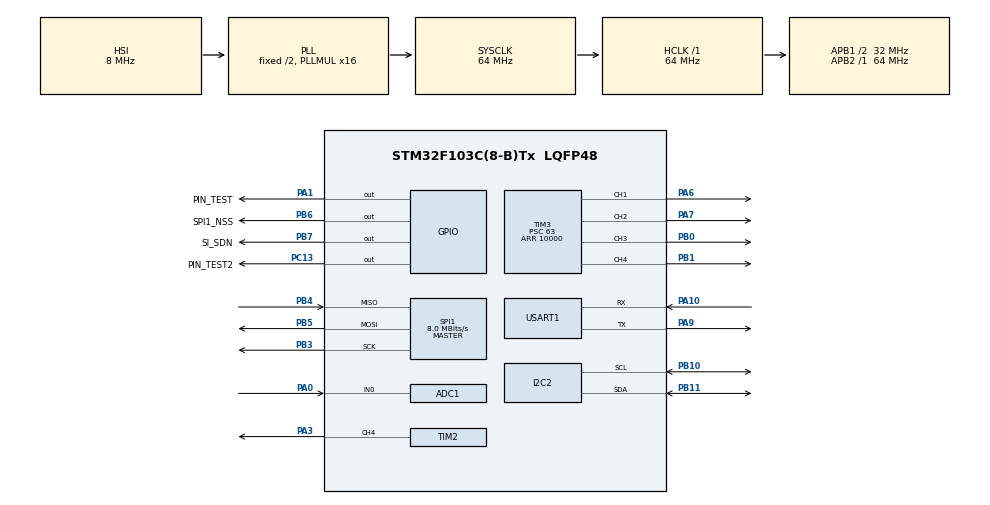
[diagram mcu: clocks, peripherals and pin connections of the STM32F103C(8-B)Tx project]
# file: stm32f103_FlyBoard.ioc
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ADC1.Channel-1\#ChannelRegularConversion=ADC_CHANNEL_0
ADC1.NbrOfConversionFlag=1
ADC1.Rank-1\#ChannelRegularConversion=1
ADC1.SamplingTime-1\#ChannelRegularConversion=ADC_SAMPLETIME_1CYCLE_5
ADC1.master=1
FREERTOS.HEAP_NUMBER=1
FREERTOS.Tasks01=defaultTask,24,512,StartDefaultTask,Default,NULL,Dynamic,NULL,NULL;myTask02,24,512,StartTask02,Default,NULL,Dynamic,NULL,NULL
FREERTOS.configMAX_TASK_NAME_LEN=12
FREERTOS.configMINIMAL_STACK_SIZE=512
FREERTOS.configTOTAL_HEAP_SIZE=5120
FREERTOS.configUSE_PREEMPTION=0
I2C2.I2C_Mode=I2C_Fast
IWDG.Prescaler=IWDG_PRESCALER_64
IWDG.Reload=1250
Mcu.Family=STM32F1
Mcu.Name=STM32F103C(8-B)Tx
Mcu.Package=LQFP48
NVIC.PriorityGroup=NVIC_PRIORITYGROUP_4
NVIC.TIM3_IRQn=true\:5\:0\:false\:false\:true\:true\:true\:true\:true
PA0-WKUP.Signal=ADCx_IN0
PA1.GPIO_Label=PIN_TEST
PA1.Signal=GPIO_Output
PA10.Mode=Asynchronous
PA10.Signal=USART1_RX
PA13.Mode=Serial_Wire
PA13.Signal=SYS_JTMS-SWDIO
PA14.Mode=Serial_Wire
PA14.Signal=SYS_JTCK-SWCLK
PA3.Signal=S_TIM2_CH4
PA6.Signal=S_TIM3_CH1
PA7.Signal=S_TIM3_CH2
PA9.Mode=Asynchronous
PA9.Signal=USART1_TX
PB0.Signal=S_TIM3_CH3
PB1.Signal=S_TIM3_CH4
PB10.Mode=I2C
PB10.Signal=I2C2_SCL
PB11.Mode=I2C
PB11.Signal=I2C2_SDA
PB3.Mode=Full_Duplex_Master
PB3.Signal=SPI1_SCK
PB4.Mode=Full_Duplex_Master
PB4.Signal=SPI1_MISO
PB5.Mode=Full_Duplex_Master
PB5.Signal=SPI1_MOSI
PB6.GPIO_Label=SPI1_NSS
PB6.Signal=GPIO_Output
PB7.GPIO_Label=SI_SDN
PB7.Signal=GPIO_Output
PC13-TAMPER-RTC.GPIO_Label=PIN_TEST2
PC13-TAMPER-RTC.Signal=GPIO_Output
ProjectManager.HeapSize=0x200
ProjectManager.StackSize=0x400
ProjectManager.TargetToolchain=Makefile
RCC.ADCPresc=RCC_ADCPCLK2_DIV6
RCC.AHBFreq_Value=64000000
RCC.APB1CLKDivider=RCC_HCLK_DIV2
RCC.APB1Freq_Value=32000000
RCC.APB1TimFreq_Value=64000000
RCC.APB2Freq_Value=64000000
RCC.APB2TimFreq_Value=64000000
RCC.HCLKFreq_Value=64000000
RCC.PLLMUL=RCC_PLL_MUL16
RCC.SYSCLKFreq_VALUE=64000000
RCC.SYSCLKSource=RCC_SYSCLKSOURCE_PLLCLK
RCC.USBFreq_Value=64000000
SH.ADCx_IN0.0=ADC1_IN0,IN0
SH.S_TIM2_CH4.0=TIM2_CH4,PWM Generation4 CH4
SH.S_TIM3_CH1.0=TIM3_CH1,PWM Generation1 CH1
SH.S_TIM3_CH2.0=TIM3_CH2,PWM Generation2 CH2
SH.S_TIM3_CH3.0=TIM3_CH3,PWM Generation3 CH3
SH.S_TIM3_CH4.0=TIM3_CH4,PWM Generation4 CH4
SPI1.BaudRatePrescaler=SPI_BAUDRATEPRESCALER_8
SPI1.CalculateBaudRate=8.0 MBits/s
SPI1.Direction=SPI_DIRECTION_2LINES
SPI1.Mode=SPI_MODE_MASTER
SPI1.VirtualType=VM_MASTER
TIM1.AutoReloadPreload=TIM_AUTORELOAD_PRELOAD_ENABLE
TIM1.Period=0xffff
TIM1.Prescaler=63
TIM2.AutoReloadPreload=TIM_AUTORELOAD_PRELOAD_ENABLE
TIM2.Channel-PWM\ Generation4\ CH4=TIM_CHANNEL_4
TIM2.Period=20000
TIM2.Prescaler=63
TIM2.Pulse-PWM\ Generation4\ CH4=10000
TIM3.AutoReloadPreload=TIM_AUTORELOAD_PRELOAD_ENABLE
TIM3.Channel-PWM\ Generation1\ CH1=TIM_CHANNEL_1
TIM3.Channel-PWM\ Generation2\ CH2=TIM_CHANNEL_2
TIM3.Channel-PWM\ Generation3\ CH3=TIM_CHANNEL_3
TIM3.Channel-PWM\ Generation4\ CH4=TIM_CHANNEL_4
TIM3.Period=10000
TIM3.Prescaler=63
USART1.VirtualMode=VM_ASYNC
VP_FREERTOS_VS_CMSIS_V2.Mode=CMSIS_V2
VP_IWDG_VS_IWDG.Mode=IWDG_Activate
VP_TIM1_VS_ClockSourceINT.Mode=Internal
VP_TIM2_VS_ClockSourceINT.Mode=Internal
VP_TIM3_VS_ClockSourceINT.Mode=Internal
board=custom

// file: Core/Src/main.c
/* USER CODE BEGIN Header */
/**
  ******************************************************************************
  * @file           : main.c
  * @brief          : Main program body
  ******************************************************************************
  * @attention
  *
  * Copyright (c) 2024 STMicroelectronics.
  * All rights reserved.
  *
  * This software is licensed under terms that can be found in the LICENSE file
  * in the root directory of this software component.
  * If no LICENSE file comes with this software, it is provided AS-IS.
  *
  ******************************************************************************
  */
/* USER CODE END Header */
#include "main.h"
#include "cmsis_os.h"

/* USER CODE BEGIN Includes */

#include <string.h>		// for strlen
#include <stdio.h>		// for sprintf
#include <math.h>		  // for abs and other

#include "radio_config_Si4463.h"

// #include "debug.h"

#include "params.h"
#include "system.h"
#include "mavlink_handler.h"

#include "imu.h"

#include "ModemControl.h"
#include "MotorControl.h"

#include "task.h"
/* USER CODE END Includes */

ADC_HandleTypeDef hadc1;

I2C_HandleTypeDef hi2c2;

IWDG_HandleTypeDef hiwdg;

SPI_HandleTypeDef hspi1;

TIM_HandleTypeDef htim1;
TIM_HandleTypeDef htim2;
TIM_HandleTypeDef htim3;

UART_HandleTypeDef huart1;

/* Definitions for defaultTask */
osThreadId_t defaultTaskHandle;
const osThreadAttr_t defaultTask_attributes = {
  .name = "defaultTask",
  .stack_size = 512 * 4,
  .priority = (osPriority_t) osPriorityNormal,
};
/* Definitions for myTask02 */
osThreadId_t myTask02Handle;
const osThreadAttr_t myTask02_attributes = {
  .name = "myTask02",
  .stack_size = 512 * 4,
  .priority = (osPriority_t) osPriorityNormal,
};

void SystemClock_Config(void);
static void MX_GPIO_Init(void);
static void MX_ADC1_Init(void);
static void MX_I2C2_Init(void);
static void MX_IWDG_Init(void);
static void MX_SPI1_Init(void);
static void MX_TIM1_Init(void);
static void MX_TIM2_Init(void);
static void MX_TIM3_Init(void);
static void MX_USART1_UART_Init(void);
void StartDefaultTask(void *argument);
void StartTask02(void *argument);

/* USER CODE BEGIN 0 */

void test_set(int set){
  if (set !=0) HAL_GPIO_WritePin(PIN_TEST_GPIO_Port, PIN_TEST_Pin, GPIO_PIN_SET);
  else HAL_GPIO_WritePin(PIN_TEST_GPIO_Port, PIN_TEST_Pin, GPIO_PIN_RESET);

}

volatile uint32_t tick_ms = 0;

uint32_t Get_tick(void){
  return tick_ms;
}

void HAL_IncTick(void)
{
  uwTick += uwTickFreq;
  SYS_myTick();
}

void SYS_myTick(void)  // IRQ 1 ms
{
  tick_ms++;
  //reset timer for calculate us
  if (htim1.Instance != 0)__HAL_TIM_SET_COUNTER(&htim1, 0); // reset for timer counter us
}

// void Printf(const char *fmt, ...){
//  HAL_UART_Transmit(&huart1, (unsigned char *)fmt, strlen(fmt), 500);
// }
#include <stdarg.h>
void Printf(const char *fmt, ...)
{
  char buf[256];
  va_list lst;
  va_start(lst, fmt);
  vsprintf(buf, fmt, lst);
  va_end(lst);
  HAL_UART_Transmit(&huart1, (unsigned char *)buf, strlen(buf), 500);
  // if (ModemControl_getStatus()>=0) mavlink_send_statustext(buf);
}

// for printf. the size is larger on 2k
// int _write(int fd, char* ptr, int len) {
//     HAL_UART_Transmit(&huart1, (uint8_t *) ptr, len, HAL_MAX_DELAY);
//   ptr[len] = '\0';
//   if (ModemControl_getStatus()>=0) mavlink_send_statustext(ptr);
//     return len;
// }

/* USER CODE END 0 */

int main(void)
{

  /* MCU Configuration--------------------------------------------------------*/

  /* Reset of all peripherals, Initializes the Flash interface and the Systick. */
  HAL_Init();

  /* Configure the system clock */
  SystemClock_Config();

  /* Initialize all configured peripherals */
  MX_GPIO_Init();
  MX_ADC1_Init();
  MX_I2C2_Init();
  MX_IWDG_Init();
  MX_SPI1_Init();
  MX_TIM1_Init();
  MX_TIM2_Init();
  MX_TIM3_Init();
  MX_USART1_UART_Init();
  /* USER CODE BEGIN 2 */

  Printf("...\n\r");

  __enable_irq();
  HAL_IWDG_Init(&hiwdg);
  __HAL_IWDG_START(&hiwdg);
  HAL_IWDG_Refresh(&hiwdg);

  HAL_TIM_Base_Start(&htim1); // timer for us calculate
  HAL_TIM_Base_Start(&htim2); // reserv for additional motors
  HAL_TIM_Base_Start(&htim3); // timer for motor pwm

  HAL_TIM_PWM_Start(&htim2, TIM_CHANNEL_2); // for additional motors
  HAL_TIM_PWM_Start(&htim2, TIM_CHANNEL_4); // for additional motors

  HAL_TIM_PWM_Start(&htim3, TIM_CHANNEL_1); // motor 1
  HAL_TIM_PWM_Start(&htim3, TIM_CHANNEL_2); // motor 2
  HAL_TIM_PWM_Start(&htim3, TIM_CHANNEL_3); // motor 3
  HAL_TIM_PWM_Start(&htim3, TIM_CHANNEL_4); // motor 4

  params_restore();

  HAL_IWDG_Refresh(&hiwdg);

  MotorControl_init();

  if (imu_init() < 0) system_reboot();
  if (ModemControl_init() < 0) {Printf("MC_init false\n\r"); system_reboot();};

  Printf("Started...\n\r");

  /* USER CODE END 2 */

  /* Init scheduler */
  osKernelInitialize();

  /* Create the thread(s) */
  /* creation of defaultTask */
  defaultTaskHandle = osThreadNew(StartDefaultTask, NULL, &defaultTask_attributes);

  /* creation of myTask02 */
  myTask02Handle = osThreadNew(StartTask02, NULL, &myTask02_attributes);

  /* Start scheduler */
  osKernelStart();

  /* We should never get here as control is now taken by the scheduler */

  /* Infinite loop */
  while (1)
  {

  }
}

void SystemClock_Config(void)
{
  RCC_OscInitTypeDef RCC_OscInitStruct = {0};
  RCC_ClkInitTypeDef RCC_ClkInitStruct = {0};
  RCC_PeriphCLKInitTypeDef PeriphClkInit = {0};

  /** Initializes the RCC Oscillators according to the specified parameters
  * in the RCC_OscInitTypeDef structure.
  */
  RCC_OscInitStruct.OscillatorType = RCC_OSCILLATORTYPE_HSI|RCC_OSCILLATORTYPE_LSI;
  RCC_OscInitStruct.HSIState = RCC_HSI_ON;
  RCC_OscInitStruct.HSICalibrationValue = RCC_HSICALIBRATION_DEFAULT;
  RCC_OscInitStruct.LSIState = RCC_LSI_ON;
  RCC_OscInitStruct.PLL.PLLState = RCC_PLL_ON;
  RCC_OscInitStruct.PLL.PLLSource = RCC_PLLSOURCE_HSI_DIV2;
  RCC_OscInitStruct.PLL.PLLMUL = RCC_PLL_MUL16;
  if (HAL_RCC_OscConfig(&RCC_OscInitStruct) != HAL_OK)
  {
    Error_Handler();
  }

  /** Initializes the CPU, AHB and APB buses clocks
  */
  RCC_ClkInitStruct.ClockType = RCC_CLOCKTYPE_HCLK|RCC_CLOCKTYPE_SYSCLK
                              |RCC_CLOCKTYPE_PCLK1|RCC_CLOCKTYPE_PCLK2;
  RCC_ClkInitStruct.SYSCLKSource = RCC_SYSCLKSOURCE_PLLCLK;
  RCC_ClkInitStruct.AHBCLKDivider = RCC_SYSCLK_DIV1;
  RCC_ClkInitStruct.APB1CLKDivider = RCC_HCLK_DIV2;
  RCC_ClkInitStruct.APB2CLKDivider = RCC_HCLK_DIV1;

  if (HAL_RCC_ClockConfig(&RCC_ClkInitStruct, FLASH_LATENCY_2) != HAL_OK)
  {
    Error_Handler();
  }
  PeriphClkInit.PeriphClockSelection = RCC_PERIPHCLK_ADC;
  PeriphClkInit.AdcClockSelection = RCC_ADCPCLK2_DIV6;
  if (HAL_RCCEx_PeriphCLKConfig(&PeriphClkInit) != HAL_OK)
  {
    Error_Handler();
  }
}

static void MX_ADC1_Init(void)
{

  ADC_ChannelConfTypeDef sConfig = {0};

  /** Common config
  */
  hadc1.Instance = ADC1;
  hadc1.Init.ScanConvMode = ADC_SCAN_DISABLE;
  hadc1.Init.ContinuousConvMode = DISABLE;
  hadc1.Init.DiscontinuousConvMode = DISABLE;
  hadc1.Init.ExternalTrigConv = ADC_SOFTWARE_START;
  hadc1.Init.DataAlign = ADC_DATAALIGN_RIGHT;
  hadc1.Init.NbrOfConversion = 1;
  if (HAL_ADC_Init(&hadc1) != HAL_OK)
  {
    Error_Handler();
  }

  /** Configure Regular Channel
  */
  sConfig.Channel = ADC_CHANNEL_0;
  sConfig.Rank = ADC_REGULAR_RANK_1;
  sConfig.SamplingTime = ADC_SAMPLETIME_1CYCLE_5;
  if (HAL_ADC_ConfigChannel(&hadc1, &sConfig) != HAL_OK)
  {
    Error_Handler();
  }

}

static void MX_I2C2_Init(void)
{

  hi2c2.Instance = I2C2;
  hi2c2.Init.ClockSpeed = 400000;
  hi2c2.Init.DutyCycle = I2C_DUTYCYCLE_2;
  hi2c2.Init.OwnAddress1 = 0;
  hi2c2.Init.AddressingMode = I2C_ADDRESSINGMODE_7BIT;
  hi2c2.Init.DualAddressMode = I2C_DUALADDRESS_DISABLE;
  hi2c2.Init.OwnAddress2 = 0;
  hi2c2.Init.GeneralCallMode = I2C_GENERALCALL_DISABLE;
  hi2c2.Init.NoStretchMode = I2C_NOSTRETCH_DISABLE;
  if (HAL_I2C_Init(&hi2c2) != HAL_OK)
  {
    Error_Handler();
  }

}

static void MX_IWDG_Init(void)
{

  hiwdg.Instance = IWDG;
  hiwdg.Init.Prescaler = IWDG_PRESCALER_64;
  hiwdg.Init.Reload = 1250;
  if (HAL_IWDG_Init(&hiwdg) != HAL_OK)
  {
    Error_Handler();
  }

}

static void MX_SPI1_Init(void)
{

  /* SPI1 parameter configuration*/
  hspi1.Instance = SPI1;
  hspi1.Init.Mode = SPI_MODE_MASTER;
  hspi1.Init.Direction = SPI_DIRECTION_2LINES;
  hspi1.Init.DataSize = SPI_DATASIZE_8BIT;
  hspi1.Init.CLKPolarity = SPI_POLARITY_LOW;
  hspi1.Init.CLKPhase = SPI_PHASE_1EDGE;
  hspi1.Init.NSS = SPI_NSS_SOFT;
  hspi1.Init.BaudRatePrescaler = SPI_BAUDRATEPRESCALER_8;
  hspi1.Init.FirstBit = SPI_FIRSTBIT_MSB;
  hspi1.Init.TIMode = SPI_TIMODE_DISABLE;
  hspi1.Init.CRCCalculation = SPI_CRCCALCULATION_DISABLE;
  hspi1.Init.CRCPolynomial = 10;
  if (HAL_SPI_Init(&hspi1) != HAL_OK)
  {
    Error_Handler();
  }

}

static void MX_TIM1_Init(void)
{

  TIM_ClockConfigTypeDef sClockSourceConfig = {0};
  TIM_MasterConfigTypeDef sMasterConfig = {0};

  htim1.Instance = TIM1;
  htim1.Init.Prescaler = 63;
  htim1.Init.CounterMode = TIM_COUNTERMODE_UP;
  htim1.Init.Period = 65535;
  htim1.Init.ClockDivision = TIM_CLOCKDIVISION_DIV1;
  htim1.Init.RepetitionCounter = 0;
  htim1.Init.AutoReloadPreload = TIM_AUTORELOAD_PRELOAD_ENABLE;
  if (HAL_TIM_Base_Init(&htim1) != HAL_OK)
  {
    Error_Handler();
  }
  sClockSourceConfig.ClockSource = TIM_CLOCKSOURCE_INTERNAL;
  if (HAL_TIM_ConfigClockSource(&htim1, &sClockSourceConfig) != HAL_OK)
  {
    Error_Handler();
  }
  sMasterConfig.MasterOutputTrigger = TIM_TRGO_RESET;
  sMasterConfig.MasterSlaveMode = TIM_MASTERSLAVEMODE_DISABLE;
  if (HAL_TIMEx_MasterConfigSynchronization(&htim1, &sMasterConfig) != HAL_OK)
  {
    Error_Handler();
  }

}

static void MX_TIM2_Init(void)
{

  TIM_ClockConfigTypeDef sClockSourceConfig = {0};
  TIM_MasterConfigTypeDef sMasterConfig = {0};
  TIM_OC_InitTypeDef sConfigOC = {0};

  htim2.Instance = TIM2;
  htim2.Init.Prescaler = 63;
  htim2.Init.CounterMode = TIM_COUNTERMODE_UP;
  htim2.Init.Period = 20000;
  htim2.Init.ClockDivision = TIM_CLOCKDIVISION_DIV1;
  htim2.Init.AutoReloadPreload = TIM_AUTORELOAD_PRELOAD_ENABLE;
  if (HAL_TIM_Base_Init(&htim2) != HAL_OK)
  {
    Error_Handler();
  }
  sClockSourceConfig.ClockSource = TIM_CLOCKSOURCE_INTERNAL;
  if (HAL_TIM_ConfigClockSource(&htim2, &sClockSourceConfig) != HAL_OK)
  {
    Error_Handler();
  }
  if (HAL_TIM_PWM_Init(&htim2) != HAL_OK)
  {
    Error_Handler();
  }
  sMasterConfig.MasterOutputTrigger = TIM_TRGO_RESET;
  sMasterConfig.MasterSlaveMode = TIM_MASTERSLAVEMODE_DISABLE;
  if (HAL_TIMEx_MasterConfigSynchronization(&htim2, &sMasterConfig) != HAL_OK)
  {
    Error_Handler();
  }
  sConfigOC.OCMode = TIM_OCMODE_PWM1;
  sConfigOC.Pulse = 10000;
  sConfigOC.OCPolarity = TIM_OCPOLARITY_HIGH;
  sConfigOC.OCFastMode = TIM_OCFAST_DISABLE;
  if (HAL_TIM_PWM_ConfigChannel(&htim2, &sConfigOC, TIM_CHANNEL_4) != HAL_OK)
  {
    Error_Handler();
  }
  HAL_TIM_MspPostInit(&htim2);

}

static void MX_TIM3_Init(void)
{

  TIM_ClockConfigTypeDef sClockSourceConfig = {0};
  TIM_MasterConfigTypeDef sMasterConfig = {0};
  TIM_OC_InitTypeDef sConfigOC = {0};

  htim3.Instance = TIM3;
  htim3.Init.Prescaler = 63;
  htim3.Init.CounterMode = TIM_COUNTERMODE_UP;
  htim3.Init.Period = 10000;
  htim3.Init.ClockDivision = TIM_CLOCKDIVISION_DIV1;
  htim3.Init.AutoReloadPreload = TIM_AUTORELOAD_PRELOAD_ENABLE;
  if (HAL_TIM_Base_Init(&htim3) != HAL_OK)
  {
    Error_Handler();
  }
  sClockSourceConfig.ClockSource = TIM_CLOCKSOURCE_INTERNAL;
  if (HAL_TIM_ConfigClockSource(&htim3, &sClockSourceConfig) != HAL_OK)
  {
    Error_Handler();
  }
  if (HAL_TIM_PWM_Init(&htim3) != HAL_OK)
  {
    Error_Handler();
  }
  sMasterConfig.MasterOutputTrigger = TIM_TRGO_RESET;
  sMasterConfig.MasterSlaveMode = TIM_MASTERSLAVEMODE_DISABLE;
  if (HAL_TIMEx_MasterConfigSynchronization(&htim3, &sMasterConfig) != HAL_OK)
  {
    Error_Handler();
  }
  sConfigOC.OCMode = TIM_OCMODE_PWM1;
  sConfigOC.Pulse = 0;
  sConfigOC.OCPolarity = TIM_OCPOLARITY_HIGH;
  sConfigOC.OCFastMode = TIM_OCFAST_DISABLE;
  if (HAL_TIM_PWM_ConfigChannel(&htim3, &sConfigOC, TIM_CHANNEL_1) != HAL_OK)
  {
    Error_Handler();
  }
  if (HAL_TIM_PWM_ConfigChannel(&htim3, &sConfigOC, TIM_CHANNEL_2) != HAL_OK)
  {
    Error_Handler();
  }
  if (HAL_TIM_PWM_ConfigChannel(&htim3, &sConfigOC, TIM_CHANNEL_3) != HAL_OK)
  {
    Error_Handler();
  }
  if (HAL_TIM_PWM_ConfigChannel(&htim3, &sConfigOC, TIM_CHANNEL_4) != HAL_OK)
  {
    Error_Handler();
  }
  HAL_TIM_MspPostInit(&htim3);

}

static void MX_USART1_UART_Init(void)
{

  huart1.Instance = USART1;
  huart1.Init.BaudRate = 115200;
  huart1.Init.WordLength = UART_WORDLENGTH_8B;
  huart1.Init.StopBits = UART_STOPBITS_1;
  huart1.Init.Parity = UART_PARITY_NONE;
  huart1.Init.Mode = UART_MODE_TX_RX;
  huart1.Init.HwFlowCtl = UART_HWCONTROL_NONE;
  huart1.Init.OverSampling = UART_OVERSAMPLING_16;
  if (HAL_UART_Init(&huart1) != HAL_OK)
  {
    Error_Handler();
  }

}

static void MX_GPIO_Init(void)
{
  GPIO_InitTypeDef GPIO_InitStruct = {0};

  /* GPIO Ports Clock Enable */
  __HAL_RCC_GPIOC_CLK_ENABLE();
  __HAL_RCC_GPIOA_CLK_ENABLE();
  __HAL_RCC_GPIOB_CLK_ENABLE();

  /*Configure GPIO pin Output Level */
  HAL_GPIO_WritePin(PIN_TEST2_GPIO_Port, PIN_TEST2_Pin, GPIO_PIN_RESET);

  /*Configure GPIO pin Output Level */
  HAL_GPIO_WritePin(PIN_TEST_GPIO_Port, PIN_TEST_Pin, GPIO_PIN_RESET);

  /*Configure GPIO pin Output Level */
  HAL_GPIO_WritePin(GPIOB, SPI1_NSS_Pin|SI_SDN_Pin, GPIO_PIN_RESET);

  /*Configure GPIO pin : PIN_TEST2_Pin */
  GPIO_InitStruct.Pin = PIN_TEST2_Pin;
  GPIO_InitStruct.Mode = GPIO_MODE_OUTPUT_PP;
  GPIO_InitStruct.Pull = GPIO_NOPULL;
  GPIO_InitStruct.Speed = GPIO_SPEED_FREQ_LOW;
  HAL_GPIO_Init(PIN_TEST2_GPIO_Port, &GPIO_InitStruct);

  /*Configure GPIO pin : PIN_TEST_Pin */
  GPIO_InitStruct.Pin = PIN_TEST_Pin;
  GPIO_InitStruct.Mode = GPIO_MODE_OUTPUT_PP;
  GPIO_InitStruct.Pull = GPIO_NOPULL;
  GPIO_InitStruct.Speed = GPIO_SPEED_FREQ_LOW;
  HAL_GPIO_Init(PIN_TEST_GPIO_Port, &GPIO_InitStruct);

  /*Configure GPIO pins : SPI1_NSS_Pin SI_SDN_Pin */
  GPIO_InitStruct.Pin = SPI1_NSS_Pin|SI_SDN_Pin;
  GPIO_InitStruct.Mode = GPIO_MODE_OUTPUT_PP;
  GPIO_InitStruct.Pull = GPIO_NOPULL;
  GPIO_InitStruct.Speed = GPIO_SPEED_FREQ_LOW;
  HAL_GPIO_Init(GPIOB, &GPIO_InitStruct);

}

void StartDefaultTask(void *argument)
{
  /* USER CODE BEGIN 5 */

  portTickType xLastWakeTime;
  xLastWakeTime = xTaskGetTickCount();

  /* Infinite loop */
  for(;;)
  {
    // HAL_IWDG_Refresh(&hiwdg);

    vTaskDelayUntil( &xLastWakeTime, ( 1 / portTICK_RATE_MS ) );

    // vTaskDelay( ( 1 / portTICK_RATE_MS ) );

    imu_loop();

    mavlink_loop();
    if (ModemControl_Loop() == 1){  // if rx data pack
      uint8_t buff_pack[64];
      int32_t rx_len = ModemControl_GetPacket(buff_pack);
      mavlink_receive_pack(buff_pack, rx_len);  // send packet to parse
    }
    // osDelay(1);
    taskYIELD();

  }
  /* USER CODE END 5 */
}

void StartTask02(void *argument)
{
  /* USER CODE BEGIN StartTask02 */
  /* Infinite loop */

  // portTickType xLastWakeTime;
  // xLastWakeTime = xTaskGetTickCount();

  for(;;)
  {

    // vTaskDelayUntil( &xLastWakeTime, ( 1000 / portTICK_RATE_MS ) );

    vTaskDelay(200);

    // static int i=0;
    // Printf("Task. %d.\n\r", i++);

    taskYIELD();
    HAL_GPIO_TogglePin(PIN_TEST_GPIO_Port, PIN_TEST_Pin);
    taskYIELD();
    mavlink_send_attitude();
    taskYIELD();
    mavlink_send_heartbeat();
    taskYIELD();
    mavlink_send_status();
    taskYIELD();
    Battery_Read();

    HAL_IWDG_Refresh(&hiwdg);

    taskYIELD();

  }
  /* USER CODE END StartTask02 */
}

void Error_Handler(void)
{
  __disable_irq();
  while (1)
  {
  }
}
